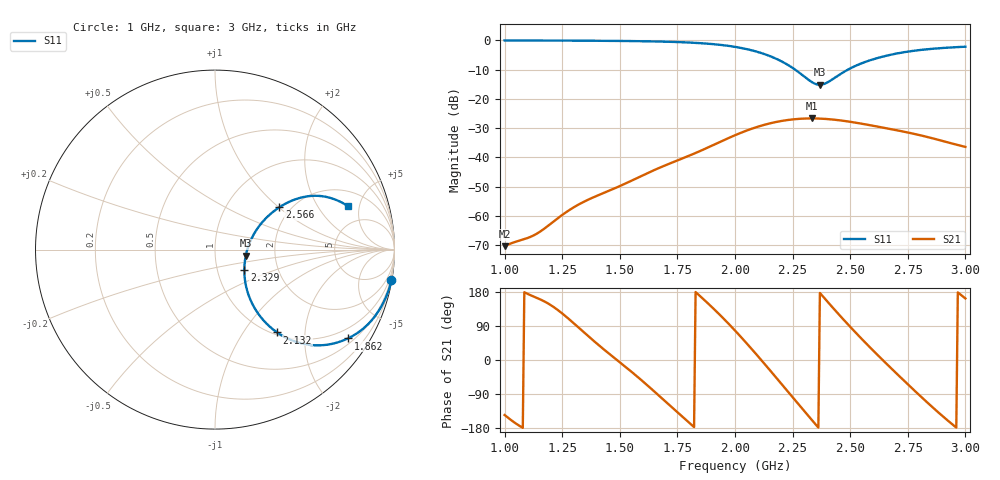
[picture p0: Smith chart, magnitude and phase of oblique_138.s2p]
! TOUCHSTONE file generated by CST MICROWAVE STUDIO
! Date and time: Tue Mar 18 00:02:17 2025
! Project name: oblique.cst
! Parameters = {Tilt=40; Fracture=1; B=10; D=160; F=15; Feed=2.85625; L=100; M=10; R=0.384908; S=2; Theta=270; length=57.125; wave=114.25}
! Header version: 2024
! Port assignment regex: !\s*Touchstone port\s*([0-9]+)\s*=\s*(CST MWS port|CST DES external port|CST DES block port)\s*(.+)\s* \(\"(.*)\"\)(\s*mode\s*([0-9]+))?.*
! Touchstone port assignment:
! Touchstone port 1 = CST MWS port 1 ("")
! Touchstone port 2 = CST MWS port 2 ("")
# GHz S DB R 50
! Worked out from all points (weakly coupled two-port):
!   305 points, 1 GHz to 3 GHz, reference 50 ohm
!   highest |S21| = -26.67 dB at 2.336 GHz (marker M1); lowest = -70.3 dB at 1 GHz (marker M2)
!   lowest |S11| = -15.2 dB at 2.368 GHz (marker M3), VSWR 1.42, Z = 70.5 - j4.93 ohm
!   |S11| at or under -10 dB: 2.261 GHz to 2.49 GHz (229 MHz wide, 9.64 % of centre)
!   S12 and S22 are empty: the file has one direction only
!   S11 on the Smith chart (normalised r, x): 1 GHz: 0, -12; 1.862 GHz: 0.66, -3.17; 2.132 GHz: 1.04, -1.44; 2.329 GHz: 1.35, -0.32; 2.566 GHz: 1.75, +1.01; 3 GHz: 3.14, +3.87
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1  -0.02 -9.8  -70.34 -145.1  -200.00 0.0  -200.00 0.0
1.13816  -0.04 -11.8  -66.14 164.3  -200.00 0.0  -200.00 0.0
1.26974  -0.07 -14.0  -58.58 112.9  -200.00 0.0  -200.00 0.0
1.33553  -0.09 -15.2  -55.50 77.8  -200.00 0.0  -200.00 0.0
1.67105  -0.38 -24.5  -43.58 -94.6  -200.00 0.0  -200.00 0.0
1.76974  -0.62 -28.8  -40.41 -148.5  -200.00 0.0  -200.00 0.0
1.86184  -1.01 -33.8  -37.35 161.2  -200.00 0.0  -200.00 0.0
2  -2.20 -43.4  -32.42 77.8  -200.00 0.0  -200.00 0.0
2.06579  -3.25 -48.5  -30.38 33.6  -200.00 0.0  -200.00 0.0
2.13158  -4.78 -53.1  -28.76 -12.6  -200.00 0.0  -200.00 0.0
2.22368  -8.10 -55.9  -27.27 -79.0  -200.00 0.0  -200.00 0.0
2.27632  -10.88 -51.5  -26.83 -117.2  -200.00 0.0  -200.00 0.0
2.32895  -14.01 -35.0  -26.67 -155.0  -200.00 0.0  -200.00 0.0
2.33553  -14.33 -31.6  -26.67 -159.7  -200.00 0.0  -200.00 0.0
2.36842  -15.15 -11.2  -26.73 177.0  -200.00 0.0  -200.00 0.0
2.40132  -14.36 8.5  -26.89 154.0  -200.00 0.0  -200.00 0.0
2.46711  -11.04 28.2  -27.45 109.2  -200.00 0.0  -200.00 0.0
2.51316  -9.07 32.3  -27.99 79.0  -200.00 0.0  -200.00 0.0
2.56579  -7.34 33.3  -28.70 45.7  -200.00 0.0  -200.00 0.0
2.67105  -4.99 31.1  -30.24 -17.9  -200.00 0.0  -200.00 0.0
2.82895  -3.07 24.3  -32.90 -109.0  -200.00 0.0  -200.00 0.0
3  -2.16 18.0  -36.40 162.4  -200.00 0.0  -200.00 0.0
